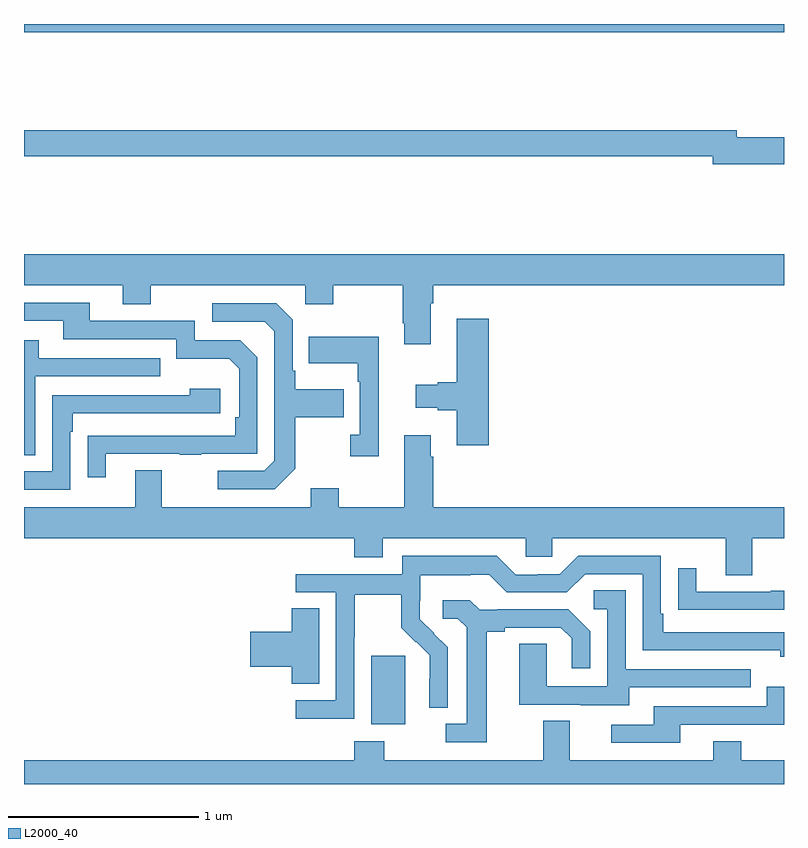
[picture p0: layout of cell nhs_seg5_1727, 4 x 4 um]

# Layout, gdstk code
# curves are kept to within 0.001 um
import gdstk
lib = gdstk.Library(unit=1e-6, precision=1e-09)
def R(c, l, rs):  # rectangles x0, y0, x1, y1
    for r in rs: c.add(gdstk.rectangle(r[:2], r[2:], *l))
def P(c, l, *ps):  # polygons
    for p in ps: c.add(gdstk.Polygon(p, *l))
L2000_40 = (2000, 40)

nhs_seg5_1727 = lib.new_cell('nhs_seg5_1727')
R(nhs_seg5_1727, L2000_40, [(216.827,857.114,217.006,857.475), (215,860.756,219,860.799)])
P(nhs_seg5_1727, L2000_40, [(219,860.204),(218.752,860.204),(218.752,860.24),(215,860.24),(215,860.104),(218.624,860.104),(218.624,860.062),(219,860.062)],
  [(215,859.424),(215.519,859.424),(215.519,859.325),(215.667,859.325),(215.667,859.424),(216.48,859.424),(216.48,859.325),(216.627,859.325),(216.627,859.424),(216.994,859.424),(216.994,859.225),(217.001,859.225),(217.001,859.113),(217.141,859.113),(217.141,859.328),(217.154,859.328),(217.154,859.424),(219,859.424),(219,859.588),(215,859.588)],
  [(215.431,858.537),(215.821,858.537),(215.821,858.532),(215.933,858.532),(215.933,858.537),(216.228,858.537),(216.228,859.044),(216.138,859.134),(215.898,859.134),(215.898,859.236),(215.347,859.236),(215.347,859.332),(215,859.332),(215,859.236),(215.207,859.236),(215.207,859.14),(215.802,859.14),(215.802,859.037),(216.079,859.037),(216.132,858.984),(216.132,858.73),(216.112,858.73),(216.112,858.633),(215.335,858.632),(215.335,858.414),(215.431,858.414)],
  [(216.427,858.457),(216.427,858.73),(216.683,858.73),(216.683,858.877),(216.427,858.877),(216.427,858.973),(216.414,858.973),(216.414,859.242),(216.327,859.329),(215.991,859.329),(215.991,859.233),(216.267,859.233),(216.318,859.182),(216.318,858.501),(216.264,858.447),(216.021,858.447),(216.021,858.351),(216.321,858.351)],
  [(217.445,859.249),(217.277,859.249),(217.277,858.914),(217.178,858.914),(217.178,858.901),(217.062,858.901),(217.062,858.779),(217.178,858.779),(217.178,858.767),(217.277,858.767),(217.277,858.582),(217.445,858.582)],
  [(216.866,859.153),(216.499,859.153),(216.499,859.013),(216.756,859.013),(216.756,858.917),(216.768,858.917),(216.768,858.638),(216.717,858.638),(216.717,858.525),(216.866,858.525)],
  [(215.058,858.945),(215.717,858.945),(215.717,859.041),(215.077,859.041),(215.077,859.135),(215,859.135),(215,858.529),(215.058,858.529)],
  [(215.244,858.653),(215.257,858.653),(215.257,858.75),(216.034,858.75),(216.034,858.88),(215.873,858.88),(215.873,858.846),(215.148,858.846),(215.148,858.444),(215,858.444),(215,858.348),(215.244,858.348)],
  [(218.833,858.092),(219,858.092),(219,858.256),(217.154,858.256),(217.154,858.521),(217.141,858.521),(217.141,858.634),(217.001,858.634),(217.001,858.256),(216.657,858.256),(216.657,858.355),(216.509,858.355),(216.509,858.256),(215.725,858.256),(215.725,858.451),(215.585,858.451),(215.585,858.256),(215,858.256),(215,858.092),(216.737,858.092),(216.737,857.993),(216.889,857.993),(216.889,858.092),(217.641,858.092),(217.641,857.994),(217.779,857.994),(217.779,858.092),(218.693,858.092),(218.693,857.898),(218.833,857.898)],
  [(216.738,857.572),(216.741,857.572),(216.741,857.796),(216.985,857.796),(216.985,857.621),(217.062,857.544),(217.065,857.547),(217.136,857.477),(217.136,857.354),(217.134,857.354),(217.134,857.2),(217.23,857.2),(217.23,857.518),(217.084,857.666),(217.084,857.763),(217.086,857.763),(217.086,857.897),(217.349,857.897),(217.349,857.901),(217.449,857.901),(217.542,857.808),(217.857,857.808),(217.953,857.904),(218.256,857.904),(218.256,857.502),(218.981,857.502),(218.981,857.468),(219,857.468),(219,857.598),(218.365,857.598),(218.365,857.695),(218.352,857.695),(218.352,858),(217.917,858),(217.821,857.904),(217.703,857.904),(217.703,857.901),(217.587,857.901),(217.487,858.001),(216.99,858.001),(216.99,857.904),(216.429,857.904),(216.429,857.808),(216.642,857.808),(216.642,857.241),(216.429,857.241),(216.429,857.143),(216.738,857.143)],
  [(219,857.816),(218.929,857.816),(218.929,857.811),(218.539,857.811),(218.539,857.935),(218.443,857.935),(218.443,857.716),(218.545,857.716),(218.545,857.715),(219,857.715)],
  [(218.185,857.307),(218.825,857.307),(218.825,857.403),(218.166,857.403),(218.166,857.819),(217.998,857.819),(217.998,857.718),(218.07,857.718),(218.07,857.313),(217.752,857.313),(217.752,857.537),(217.607,857.537),(217.607,857.217),(217.931,857.217),(217.931,857.213),(218.185,857.213)],
  [(217.435,857.6),(217.531,857.6),(217.531,857.622),(217.826,857.622),(217.883,857.565),(217.883,857.409),(217.98,857.409),(217.98,857.602),(217.864,857.718),(217.492,857.718),(217.492,857.715),(217.398,857.715),(217.346,857.767),(217.203,857.767),(217.203,857.67),(217.284,857.67),(217.331,857.623),(217.331,857.115),(217.221,857.115),(217.221,857.019),(217.435,857.019)],
  [(216.553,857.723),(216.41,857.723),(216.41,857.6),(216.192,857.6),(216.192,857.417),(216.41,857.417),(216.41,857.326),(216.553,857.326)],
  [(218.455,857.112),(219,857.112),(219,857.311),(218.91,857.311),(218.91,857.208),(218.315,857.208),(218.315,857.112),(218.091,857.112),(218.091,857.016),(218.455,857.016)],
  [(219,856.924),(218.775,856.924),(218.775,857.023),(218.627,857.023),(218.627,856.924),(217.873,856.924),(217.873,857.132),(217.733,857.132),(217.733,856.924),(216.897,856.924),(216.897,857.023),(216.737,857.023),(216.737,856.924),(215,856.924),(215,856.799),(219,856.799)])

lib.write_gds('nhs_seg5_1727.gds')
